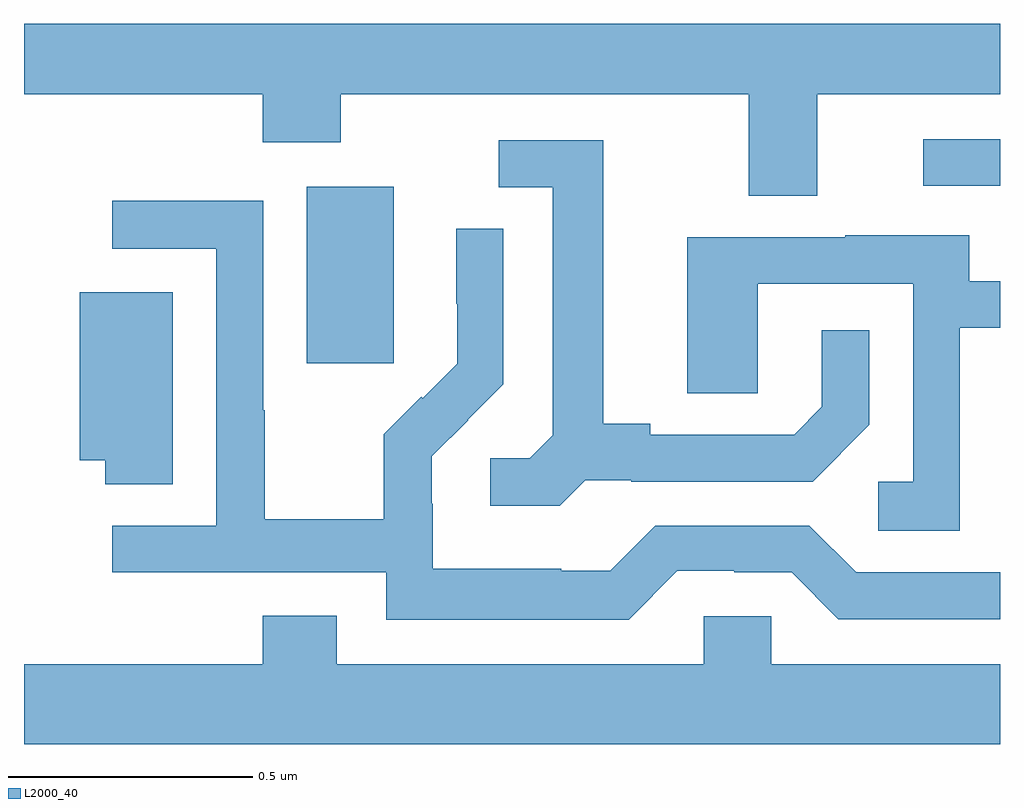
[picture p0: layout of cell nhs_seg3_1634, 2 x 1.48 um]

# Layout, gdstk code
import gdstk
lib = gdstk.Library(unit=1e-6, precision=1e-09)
def R(c, l, rs):  # rectangles x0, y0, x1, y1
    for r in rs: c.add(gdstk.rectangle(r[:2], r[2:], *l))
def P(c, l, *ps):  # polygons
    for p in ps: c.add(gdstk.Polygon(p, *l))
L2000_40 = (2000, 40)

nhs_seg3_1634 = lib.new_cell('nhs_seg3_1634')
R(nhs_seg3_1634, L2000_40, [(131.579,693.705,131.758,694.066), (132.843,694.068,133,694.164)])
P(nhs_seg3_1634, L2000_40, [(132.625,694.256),(133,694.256),(133,694.4),(131,694.4),(131,694.256),(131.489,694.256),(131.489,694.157),(131.649,694.157),(131.649,694.256),(132.485,694.256),(132.485,694.048),(132.625,694.048)],
  [(132.15,693.465),(132.244,693.465),(132.244,693.462),(132.616,693.462),(132.732,693.578),(132.732,693.772),(132.635,693.772),(132.635,693.615),(132.578,693.558),(132.283,693.558),(132.283,693.581),(132.187,693.581),(132.187,694.161),(131.973,694.161),(131.973,694.065),(132.083,694.065),(132.083,693.557),(132.036,693.51),(131.955,693.51),(131.955,693.413),(132.098,693.413)],
  [(132.339,693.279),(132.455,693.279),(132.455,693.276),(132.573,693.276),(132.669,693.18),(133,693.18),(133,693.276),(132.705,693.276),(132.609,693.372),(132.294,693.372),(132.201,693.279),(132.101,693.279),(132.101,693.283),(131.838,693.283),(131.838,693.417),(131.836,693.417),(131.836,693.514),(131.91,693.588),(131.909,693.589),(131.982,693.662),(131.982,693.98),(131.886,693.98),(131.886,693.826),(131.888,693.826),(131.888,693.704),(131.817,693.633),(131.814,693.636),(131.737,693.559),(131.737,693.385),(131.493,693.385),(131.493,693.608),(131.49,693.608),(131.49,694.038),(131.181,694.038),(131.181,693.939),(131.394,693.939),(131.394,693.372),(131.181,693.372),(131.181,693.276),(131.742,693.276),(131.742,693.179),(132.239,693.179)],
  [(132.918,693.777),(133,693.777),(133,693.873),(132.937,693.873),(132.937,693.967),(132.683,693.967),(132.683,693.963),(132.359,693.963),(132.359,693.643),(132.504,693.643),(132.504,693.867),(132.822,693.867),(132.822,693.462),(132.75,693.462),(132.75,693.361),(132.918,693.361)],
  [(131.305,693.85),(131.114,693.85),(131.114,693.506),(131.167,693.506),(131.167,693.457),(131.305,693.457)],
  [(133,693.088),(132.531,693.088),(132.531,693.186),(132.393,693.186),(132.393,693.088),(131.641,693.088),(131.641,693.187),(131.489,693.187),(131.489,693.088),(131,693.088),(131,692.924),(133,692.924)])

lib.write_gds('nhs_seg3_1634.gds')
